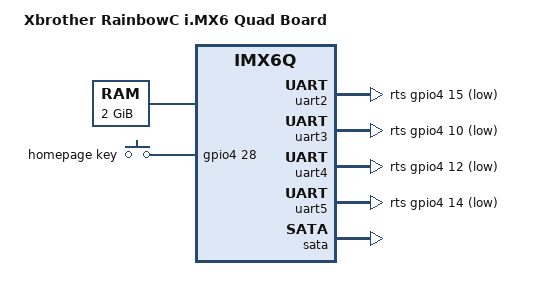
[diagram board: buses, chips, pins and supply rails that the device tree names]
// SPDX-License-Identifier: GPL-2.0-only
/*
 * Copyright 2020 Xbrother, Inc.
 *
 * Author: Feynman Lee <codingmonkey83@gmail.com>
 */
/dts-v1/;
#include "imx6q.dtsi"
#include "imx6qdl-rbc-rj45.dtsi"

/ {
	model = "Xbrother RainbowC i.MX6 Quad Board";
	compatible = "rex,imx6q-rbc", "fsl,imx6q";

	memory@10000000 {
		device_type = "memory";
		reg = <0x10000000 0x80000000>;
	};

	gpio-keys {
		compatible = "gpio-keys";
		homepage-key {
			gpios = <&gpio4 28 GPIO_ACTIVE_HIGH>;
			linux,code = <KEY_MENU>;
			label = "homepage key";
			debounce-interval = <10>;
		};
	};
};

	&uart2 {
		pinctrl-0 = <&pinctrl_uart2 &pinctrl_uart2_rts>;
		rts-gpios = <&gpio4 15 GPIO_ACTIVE_LOW>;
    	linux,rs485-enabled-at-boot-time;
	};

	&uart3 {
		pinctrl-0 = <&pinctrl_uart3 &pinctrl_uart3_rts>;
		rts-gpios = <&gpio4 10 GPIO_ACTIVE_LOW>;
		linux,rs485-enabled-at-boot-time;
	};

	&uart4 {
		pinctrl-0 = <&pinctrl_uart4 &pinctrl_uart4_rts>;
		rts-gpios = <&gpio4 12 GPIO_ACTIVE_LOW>;
		linux,rs485-enabled-at-boot-time;
	};

	&uart5 {
		pinctrl-0 = <&pinctrl_uart5 &pinctrl_uart5_rts>;
		rts-gpios = <&gpio4 14 GPIO_ACTIVE_LOW>;
		linux,rs485-enabled-at-boot-time;
	};

	&sata{
		status = "okay";
	};

	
